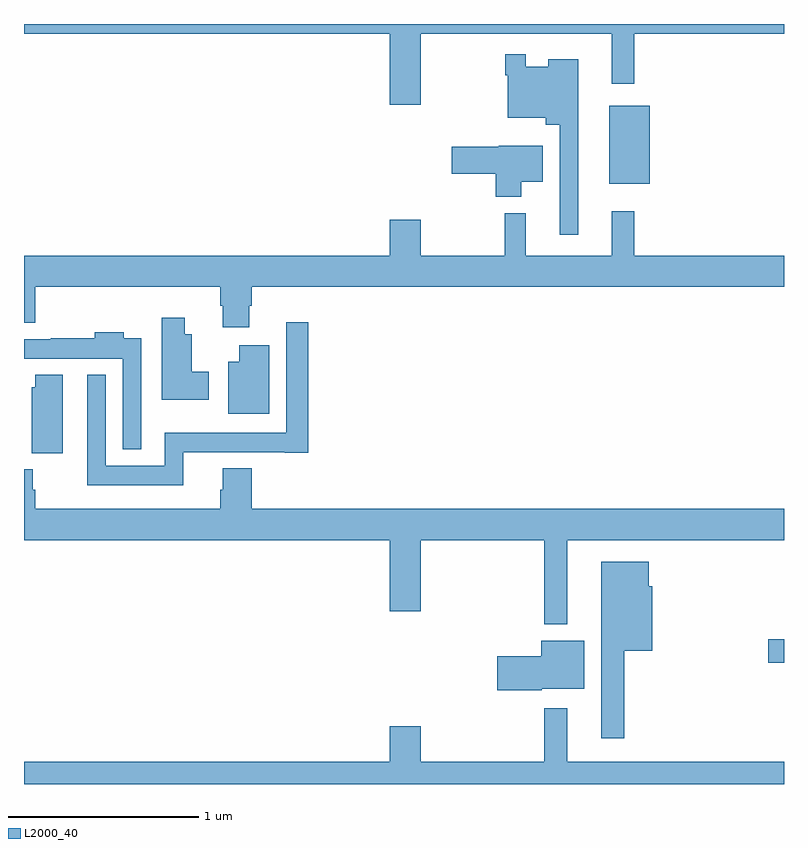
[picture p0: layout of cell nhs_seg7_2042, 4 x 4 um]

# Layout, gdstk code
import gdstk
lib = gdstk.Library(unit=1e-6, precision=1e-09)
def R(c, l, rs):  # rectangles x0, y0, x1, y1
    for r in rs: c.add(gdstk.rectangle(r[:2], r[2:], *l))
def P(c, l, *ps):  # polygons
    for p in ps: c.add(gdstk.Polygon(p, *l))
L2000_40 = (2000, 40)

nhs_seg7_2042 = lib.new_cell('nhs_seg7_2042')
R(nhs_seg7_2042, L2000_40, [(250.917,998.639,251,998.761), (250.079,1001.159,250.294,1001.569)])
P(nhs_seg7_2042, L2000_40, [(249.088,1001.948),(250.094,1001.948),(250.094,1001.685),(250.211,1001.685),(250.211,1001.948),(251,1001.948),(251,1002),(247,1002),(247,1001.948),(248.924,1001.948),(248.924,1001.574),(249.088,1001.574)],
  [(249.916,1001.815),(249.758,1001.815),(249.758,1001.776),(249.642,1001.776),(249.642,1001.842),(249.534,1001.842),(249.534,1001.729),(249.546,1001.729),(249.546,1001.507),(249.746,1001.507),(249.746,1001.471),(249.819,1001.471),(249.819,1000.89),(249.916,1000.89)],
  [(249.616,1001.171),(249.73,1001.171),(249.73,1001.359),(249.498,1001.359),(249.498,1001.354),(249.252,1001.354),(249.252,1001.212),(249.482,1001.212),(249.482,1001.09),(249.616,1001.09)],
  [(248.185,1000.518),(248.198,1000.518),(248.198,1000.616),(251,1000.616),(251,1000.78),(250.211,1000.78),(250.211,1001.014),(250.094,1001.014),(250.094,1000.78),(249.641,1000.78),(249.641,1001.005),(249.531,1001.005),(249.531,1000.78),(249.088,1000.78),(249.088,1000.969),(248.924,1000.969),(248.924,1000.78),(247,1000.78),(247,1000.427),(247.058,1000.427),(247.058,1000.616),(248.033,1000.616),(248.033,1000.518),(248.045,1000.518),(248.045,1000.404),(248.185,1000.404)],
  [(247.972,1000.17),(247.882,1000.17),(247.882,1000.366),(247.846,1000.366),(247.846,1000.453),(247.724,1000.453),(247.724,1000.022),(247.972,1000.022)],
  [(247.838,999.746),(248.372,999.746),(248.372,999.744),(248.495,999.744),(248.495,1000.429),(248.379,1000.429),(248.379,999.85),(247.74,999.85),(247.74,999.676),(247.431,999.676),(247.431,1000.153),(247.334,1000.153),(247.334,999.572),(247.838,999.572)],
  [(247.617,1000.345),(247.525,1000.345),(247.525,1000.378),(247.373,1000.378),(247.373,1000.345),(247.141,1000.345),(247.141,1000.342),(247,1000.342),(247,1000.238),(247.521,1000.238),(247.521,999.761),(247.617,999.761)],
  [(248.29,1000.309),(248.132,1000.309),(248.132,1000.222),(248.075,1000.222),(248.075,999.95),(248.29,999.95)],
  [(247.204,1000.153),(247.058,1000.153),(247.058,1000.089),(247.04,1000.089),(247.04,999.742),(247.204,999.742)],
  [(249.859,999.284),(251,999.284),(251,999.448),(248.198,999.448),(248.198,999.661),(248.045,999.661),(248.045,999.549),(248.033,999.549),(248.033,999.448),(247.058,999.448),(247.058,999.548),(247.045,999.548),(247.045,999.657),(247,999.657),(247,999.284),(248.924,999.284),(248.924,998.91),(249.088,998.91),(249.088,999.284),(249.738,999.284),(249.738,998.84),(249.859,998.84)],
  [(250.159,998.702),(250.306,998.702),(250.306,999.042),(250.288,999.042),(250.288,999.169),(250.037,999.169),(250.037,998.241),(250.159,998.241)],
  [(249.726,998.501),(249.949,998.501),(249.949,998.755),(249.722,998.755),(249.722,998.672),(249.492,998.672),(249.492,998.494),(249.726,998.494)],
  [(251,998.116),(249.859,998.116),(249.859,998.398),(249.738,998.398),(249.738,998.116),(249.088,998.116),(249.088,998.305),(248.924,998.305),(248.924,998.116),(247,998.116),(247,998),(251,998)])

lib.write_gds('nhs_seg7_2042.gds')
